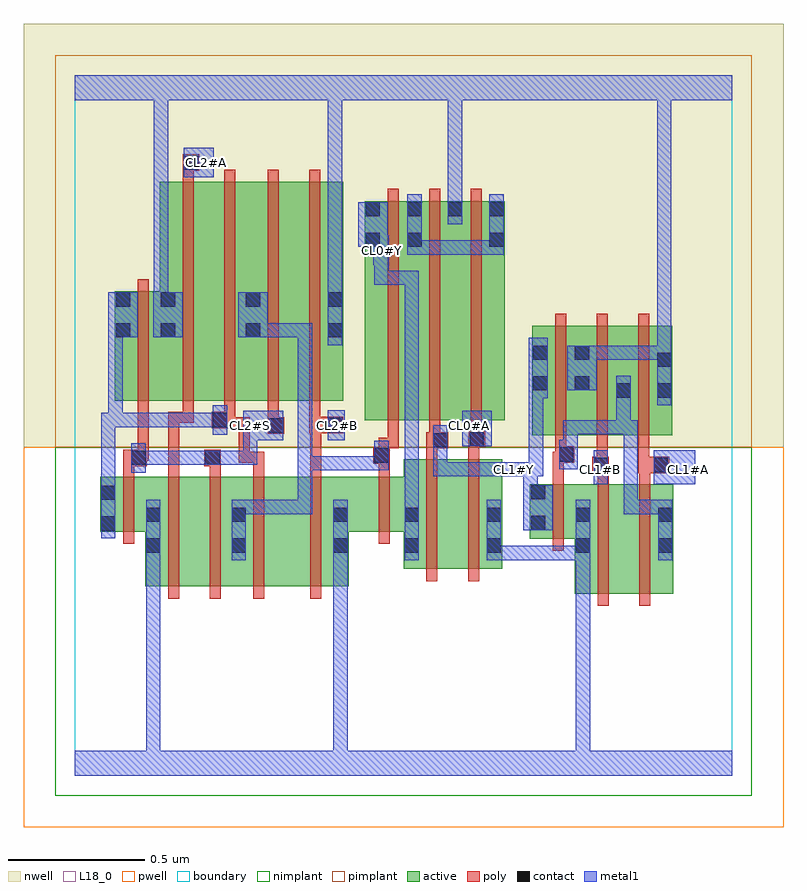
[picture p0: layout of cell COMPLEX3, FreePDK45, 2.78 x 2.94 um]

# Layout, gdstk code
import gdstk
lib = gdstk.Library(unit=1e-6, precision=1e-09)
def R(c, l, rs):  # rectangles x0, y0, x1, y1
    for r in rs: c.add(gdstk.rectangle(r[:2], r[2:], *l))
def A(c, l, x, y, w, h, nx, ny, dx, dy):  # array of equal rectangles
    R(c, l, [(x+i*dx, y+j*dy, x+i*dx+w, y+j*dy+h) for i in range(nx) for j in range(ny)])
active = (1, 0)
pwell = (2, 0)
nwell = (3, 0)
nimplant = (4, 0)
pimplant = (5, 0)
poly = (9, 0)
contact = (10, 0)
metal1 = (11, 0)
L18_0 = (18, 0)
boundary = (235, 0)

complex3 = lib.new_cell('COMPLEX3')
R(complex3, active, [(1.826,0.666,2.006,1.066), (2.006,0.666,2.186,1.066), (2.126,0.666,2.186,1.066), (0.256,0.692,0.436,1.092), (0.436,0.692,0.628,1.092), (0.568,0.692,0.804,1.092), (0.804,0.692,1,1.092), (0.568,0.756,0.628,0.984), (1.2,0.756,1.38,1.156), (1.38,0.756,1.56,1.156), (1.5,0.756,1.56,1.156), (0.256,0.812,0.316,0.984), (0.94,0.812,1,0.984), (1.2,0.812,1.26,0.984), (1.826,0.812,1.886,0.984), (1.662,0.866,1.886,1.066), (0.092,0.892,0.316,1.092), (0.092,0.892,0.152,1.092), (0.94,0.892,1.26,1.092), (1.662,0.894,1.722,1.066), (1.67,1.244,1.73,1.644), (1.67,1.244,1.882,1.644), (1.822,1.244,2.034,1.644), (1.974,1.244,2.182,1.644), (2.122,1.244,2.182,1.644), (1.058,1.3,1.118,2.1), (1.058,1.3,1.27,2.1), (1.21,1.3,1.27,2.1), (1.21,1.3,1.418,2.1), (1.358,1.3,1.418,2.1), (1.358,1.3,1.57,2.1), (1.51,1.3,1.57,2.1), (0.146,1.37,0.206,1.77), (0.146,1.37,0.37,1.77), (0.31,1.37,0.49,2.17), (0.31,1.37,0.37,2.108), (0.49,1.37,0.68,2.17), (0.62,1.37,0.8,2.17), (0.8,1.37,0.98,2.17), (0.92,1.37,0.98,2.044), (1.974,1.378,2.034,1.644), (0.62,1.388,0.68,2.044), (1.822,1.404,1.882,1.644)])
R(complex3, pwell, [(-0.188,-0.188,2.588,1.2)])
R(complex3, nwell, [(-0.188,1.2,2.588,2.748)])
R(complex3, nimplant, [(-0.072,-0.072,2.472,1.2)])
R(complex3, pimplant, [(-0.072,1.2,2.472,2.632)])
A(complex3, poly, 1.754, 1.2, 0.04, 0.488, 3, 1, 0.152, 0)
A(complex3, poly, 1.142, 1.256, 0.04, 0.888, 3, 1, 0.152, 0)
R(complex3, poly, [(1.91,0.622,1.95,1.11), (2.062,0.622,2.102,1.11), (0.34,0.648,0.38,1.136), (0.492,0.648,0.532,1.136), (0.652,0.648,0.692,1.136), (0.86,0.648,0.9,1.136), (1.284,0.712,1.324,1.2), (1.436,0.712,1.476,1.2), (1.746,0.822,1.786,1.11), (0.176,0.848,0.216,1.136), (1.11,0.848,1.15,1.136), (1.746,1.07,1.786,1.184), (1.91,1.07,1.95,1.146), (2.062,1.07,2.102,1.146), (0.176,1.096,0.216,1.172), (0.34,1.096,0.38,1.33), (0.492,1.096,0.532,1.172), (0.652,1.096,0.692,1.184), (0.86,1.096,0.9,1.292), (1.11,1.096,1.15,1.18), (1.89,1.106,1.95,1.166), (2.058,1.106,2.17,1.166), (2.062,1.106,2.102,1.146), (2.062,1.106,2.102,1.146), (1.906,1.126,1.946,1.24), (1.906,1.126,1.946,1.166), (1.906,1.126,1.946,1.166), (2.058,1.126,2.098,1.24), (0.176,1.132,0.262,1.192), (0.472,1.132,0.532,1.192), (1.09,1.14,1.15,1.2), (0.598,1.144,0.638,1.184), (0.598,1.144,0.692,1.184), (0.598,1.144,0.638,1.31), (0.652,1.144,0.692,1.184), (1.746,1.144,1.794,1.184), (1.754,1.144,1.794,1.184), (1.754,1.144,1.824,1.204), (0.222,1.152,0.262,1.192), (0.222,1.152,0.27,1.192), (0.23,1.152,0.27,1.366), (1.11,1.16,1.15,1.236), (1.284,1.16,1.324,1.236), (1.436,1.16,1.476,1.24), (1.754,1.164,1.794,1.24), (1.11,1.196,1.182,1.236), (1.142,1.196,1.182,1.296), (1.284,1.196,1.364,1.256), (1.436,1.2,1.478,1.24), (1.438,1.2,1.478,1.24), (1.438,1.2,1.498,1.26), (1.294,1.216,1.334,1.256), (1.294,1.216,1.334,1.256), (1.294,1.216,1.334,1.296), (1.446,1.22,1.486,1.296), (0.704,1.25,0.764,1.31), (0.856,1.252,0.98,1.312), (0.86,1.252,0.9,1.292), (0.86,1.252,0.9,1.292), (0.5,1.27,0.586,1.33), (0.546,1.27,0.638,1.31), (0.598,1.27,0.638,1.31), (0.704,1.27,0.744,1.366), (0.856,1.272,0.896,1.366), (0.34,1.29,0.38,1.33), (0.34,1.29,0.38,1.33), (0.34,1.29,0.434,1.33), (0.394,1.29,0.434,1.366), (0.546,1.29,0.586,1.366), (0.23,1.326,0.27,1.814), (0.394,1.326,0.434,2.214), (0.546,1.326,0.586,2.214), (0.704,1.326,0.744,2.214), (0.856,1.326,0.896,2.214), (0.394,2.174,0.434,2.25), (0.394,2.21,0.454,2.27)])
R(complex3, contact, [(0.26,0.816,0.312,0.868), (0.572,0.816,0.624,0.868), (0.944,0.816,0.996,0.868), (1.204,0.816,1.256,0.868), (1.504,0.816,1.556,0.868), (1.83,0.816,1.882,0.868), (2.13,0.816,2.182,0.868), (0.096,0.896,0.148,0.948), (1.666,0.898,1.718,0.95), (0.26,0.928,0.312,0.98), (0.572,0.928,0.624,0.98), (0.944,0.928,0.996,0.98), (1.204,0.928,1.256,0.98), (1.504,0.928,1.556,0.98), (1.83,0.928,1.882,0.98), (2.13,0.928,2.182,0.98), (0.096,1.008,0.148,1.06), (1.666,1.01,1.718,1.062), (1.894,1.11,1.946,1.162), (2.114,1.11,2.166,1.162), (0.206,1.136,0.258,1.188), (0.476,1.136,0.528,1.188), (1.094,1.144,1.146,1.196), (1.768,1.148,1.82,1.2), (1.308,1.2,1.36,1.252), (1.442,1.204,1.494,1.256), (0.708,1.254,0.76,1.306), (0.924,1.256,0.976,1.308), (0.504,1.274,0.556,1.326), (1.978,1.382,2.03,1.434), (2.126,1.382,2.178,1.434), (1.674,1.408,1.726,1.46), (1.826,1.408,1.878,1.46), (2.126,1.494,2.178,1.546), (1.674,1.52,1.726,1.572), (1.826,1.52,1.878,1.572), (0.15,1.602,0.202,1.654), (0.314,1.602,0.366,1.654), (0.624,1.602,0.676,1.654), (0.924,1.602,0.976,1.654), (0.15,1.714,0.202,1.766), (0.314,1.714,0.366,1.766), (0.624,1.714,0.676,1.766), (0.924,1.714,0.976,1.766), (1.062,1.932,1.114,1.984), (1.214,1.932,1.266,1.984), (1.514,1.932,1.566,1.984), (1.062,2.044,1.114,2.096), (1.214,2.044,1.266,2.096), (1.362,2.044,1.414,2.096), (1.514,2.044,1.566,2.096), (0.398,2.214,0.45,2.266)])
R(complex3, metal1, [(0,0,2.4,0.092), (0.26,0.04,0.312,0.092), (0.26,0.04,0.312,0.092), (0.26,0.04,0.312,0.092), (0.26,0.04,0.312,0.092), (0.26,0.04,0.312,0.092), (0.26,0.04,0.312,0.092), (0.26,0.04,0.312,0.092), (0.26,0.04,0.312,0.092), (0.26,0.04,0.312,0.092), (0.26,0.04,0.312,0.092), (0.26,0.04,0.312,0.092), (0.26,0.04,0.312,0.092), (0.26,0.04,0.312,0.84), (0.944,0.04,0.996,0.092), (0.944,0.04,0.996,0.092), (0.944,0.04,0.996,0.092), (0.944,0.04,0.996,0.092), (0.944,0.04,0.996,0.84), (1.83,0.04,1.882,0.092), (1.83,0.04,1.882,0.092), (1.83,0.04,1.882,0.092), (1.83,0.04,1.882,0.092), (1.83,0.04,1.882,0.092), (1.83,0.04,1.882,0.092), (1.83,0.04,1.882,0.092), (1.83,0.04,1.882,0.092), (1.83,0.04,1.882,0.092), (1.83,0.04,1.882,0.092), (1.83,0.04,1.882,0.092), (1.83,0.04,1.882,0.092), (1.83,0.04,1.882,0.84), (0.26,0.788,0.312,1.008), (0.572,0.788,0.624,1.008), (0.944,0.788,0.996,0.84), (0.944,0.788,0.996,0.84), (0.944,0.788,0.996,0.84), (0.944,0.788,0.996,0.84), (0.944,0.788,0.996,0.84), (0.944,0.788,0.996,0.84), (0.944,0.788,0.996,0.84), (0.944,0.788,0.996,0.84), (0.944,0.788,0.996,1.008), (1.204,0.788,1.256,1.008), (1.504,0.788,1.556,1.008), (1.504,0.788,1.726,0.84), (1.674,0.788,1.726,0.84), (1.674,0.788,1.726,0.84), (1.674,0.788,1.726,0.84), (1.674,0.788,1.882,0.84), (1.83,0.788,1.882,1.008), (2.13,0.788,2.182,1.008), (0.096,0.868,0.148,1.088), (1.638,0.898,1.746,1.062), (0.572,0.956,0.866,1.008), (0.814,0.956,0.866,1.008), (0.814,0.956,0.866,1.008), (0.814,0.956,0.866,1.008), (0.814,0.956,0.866,1.168), (1.204,0.956,1.256,1.846), (2.004,0.956,2.056,1.008), (2.004,0.956,2.182,1.008), (2.004,0.956,2.056,1.3), (2.13,0.956,2.182,1.008), (2.13,0.956,2.182,1.008), (2.13,0.956,2.182,1.008), (2.13,0.956,2.182,1.008), (1.638,1.01,1.69,1.146), (0.096,1.036,0.148,1.088), (0.096,1.036,0.148,1.088), (0.096,1.036,0.148,1.326), (1.894,1.066,1.946,1.19), (2.114,1.066,2.266,1.19), (1.308,1.094,1.378,1.146), (1.308,1.094,1.36,1.28), (1.326,1.094,1.378,1.146), (1.326,1.094,1.47,1.146), (1.418,1.094,1.47,1.146), (1.418,1.094,1.598,1.146), (1.546,1.094,1.598,1.146), (1.546,1.094,1.598,1.146), (1.546,1.094,1.71,1.146), (1.658,1.094,1.71,1.432), (0.206,1.108,0.258,1.216), (0.814,1.116,0.866,1.168), (0.814,1.116,0.976,1.168), (0.814,1.116,0.866,1.654), (0.924,1.116,0.976,1.168), (0.924,1.116,0.976,1.168), (0.924,1.116,0.976,1.168), (0.924,1.116,1.146,1.168), (1.094,1.116,1.146,1.168), (1.094,1.116,1.146,1.168), (1.094,1.116,1.146,1.224), (1.768,1.12,1.836,1.228), (0.206,1.136,0.368,1.188), (0.316,1.136,0.368,1.188), (0.316,1.136,0.368,1.188), (0.316,1.136,0.368,1.188), (0.316,1.136,0.5,1.188), (0.448,1.136,0.5,1.188), (0.448,1.136,0.5,1.188), (0.448,1.136,0.556,1.188), (0.504,1.136,0.666,1.188), (0.614,1.136,0.666,1.188), (0.614,1.136,0.666,1.278), (1.784,1.176,1.836,1.228), (1.784,1.176,1.836,1.3), (1.414,1.204,1.522,1.334), (0.614,1.226,0.666,1.278), (0.614,1.226,0.666,1.278), (0.614,1.226,0.76,1.334), (0.924,1.226,0.986,1.336), (0.504,1.246,0.556,1.354), (1.784,1.248,2.03,1.3), (1.978,1.248,2.03,1.3), (1.978,1.248,2.03,1.3), (1.978,1.248,2.03,1.406), (1.978,1.248,2.056,1.3), (0.096,1.274,0.174,1.326), (0.122,1.274,0.174,1.326), (0.122,1.274,0.174,1.326), (0.122,1.274,0.368,1.326), (0.122,1.274,0.174,1.654), (0.316,1.274,0.368,1.326), (0.316,1.274,0.368,1.326), (0.316,1.274,0.368,1.326), (0.316,1.274,0.504,1.326), (0.452,1.274,0.504,1.326), (0.452,1.274,0.556,1.326), (1.978,1.354,2.03,1.462), (2.126,1.354,2.178,1.574), (1.658,1.38,1.71,1.432), (1.658,1.38,1.71,1.432), (1.658,1.38,1.726,1.6), (1.798,1.408,1.906,1.572), (1.854,1.52,2.056,1.572), (2.004,1.52,2.056,1.572), (2.004,1.52,2.056,1.572), (2.004,1.52,2.056,1.572), (2.004,1.52,2.178,1.572), (2.126,1.52,2.178,1.572), (2.126,1.52,2.178,1.572), (2.126,1.522,2.178,1.574), (2.126,1.522,2.178,1.574), (2.126,1.522,2.178,1.574), (2.126,1.522,2.178,1.574), (2.126,1.522,2.178,1.574), (2.126,1.522,2.178,1.574), (2.126,1.522,2.178,1.574), (2.126,1.522,2.178,1.574), (2.126,1.522,2.178,1.574), (2.126,1.522,2.178,1.574), (2.126,1.522,2.178,1.574), (2.126,1.522,2.178,1.574), (2.126,1.522,2.178,1.574), (2.126,1.522,2.178,1.574), (2.126,1.522,2.178,1.574), (2.126,1.522,2.178,1.574), (2.126,1.522,2.178,2.52), (0.924,1.574,0.976,1.794), (0.122,1.602,0.23,1.766), (0.286,1.602,0.394,1.766), (0.596,1.602,0.704,1.766), (0.652,1.602,0.866,1.654), (0.814,1.602,0.866,1.654), (0.814,1.602,0.866,1.654), (0.814,1.602,0.866,1.654), (0.814,1.602,0.866,1.654), (0.814,1.602,0.866,1.654), (0.288,1.714,0.34,1.766), (0.288,1.714,0.34,1.766), (0.288,1.714,0.34,1.766), (0.288,1.714,0.34,1.766), (0.288,1.714,0.34,1.766), (0.288,1.714,0.34,1.766), (0.288,1.714,0.34,1.766), (0.288,1.714,0.34,1.766), (0.288,1.714,0.34,2.52), (0.924,1.742,0.976,1.794), (0.924,1.742,0.976,1.794), (0.924,1.742,0.976,1.794), (0.924,1.742,0.976,1.794), (0.924,1.742,0.976,1.794), (0.924,1.742,0.976,1.794), (0.924,1.742,0.976,1.794), (0.924,1.742,0.976,1.794), (0.924,1.742,0.976,2.52), (1.094,1.794,1.146,1.918), (1.094,1.794,1.256,1.846), (1.204,1.794,1.256,1.846), (1.204,1.794,1.256,1.846), (1.204,1.794,1.256,1.846), (1.09,1.866,1.146,1.974), (1.094,1.866,1.146,1.918), (1.214,1.904,1.266,1.956), (1.214,1.904,1.266,1.956), (1.214,1.904,1.266,2.124), (1.214,1.904,1.446,1.956), (1.394,1.904,1.446,1.956), (1.394,1.904,1.488,1.956), (1.436,1.904,1.488,1.956), (1.436,1.904,1.566,1.956), (1.514,1.904,1.566,2.124), (1.09,1.922,1.142,1.984), (1.034,1.932,1.142,2.096), (1.362,2.016,1.414,2.124), (1.362,2.072,1.414,2.124), (1.362,2.072,1.414,2.124), (1.362,2.072,1.414,2.124), (1.362,2.072,1.414,2.124), (1.362,2.072,1.414,2.124), (1.362,2.072,1.414,2.124), (1.362,2.072,1.414,2.124), (1.362,2.072,1.414,2.124), (1.362,2.072,1.414,2.52), (0.398,2.186,0.506,2.294), (0,2.468,2.4,2.56)])
A(complex3, L18_0, 1.574, 1.094, 0.052, 0.052, 3, 1, 0.32, 0)
R(complex3, L18_0, [(0,0,2.4,0.092), (0.26,0.04,0.312,0.092), (0.26,0.04,0.312,0.092), (0.26,0.04,0.312,0.092), (0.26,0.04,0.312,0.092), (0.26,0.04,0.312,0.092), (0.26,0.04,0.312,0.092), (0.26,0.04,0.312,0.092), (0.26,0.04,0.312,0.092), (0.26,0.04,0.312,0.092), (0.26,0.04,0.312,0.092), (0.26,0.04,0.312,0.092), (0.26,0.04,0.312,0.092), (0.26,0.04,0.312,0.84), (0.944,0.04,0.996,0.092), (0.944,0.04,0.996,0.092), (0.944,0.04,0.996,0.092), (0.944,0.04,0.996,0.092), (0.944,0.04,0.996,0.84), (1.83,0.04,1.882,0.092), (1.83,0.04,1.882,0.092), (1.83,0.04,1.882,0.092), (1.83,0.04,1.882,0.092), (1.83,0.04,1.882,0.092), (1.83,0.04,1.882,0.092), (1.83,0.04,1.882,0.092), (1.83,0.04,1.882,0.092), (1.83,0.04,1.882,0.092), (1.83,0.04,1.882,0.092), (1.83,0.04,1.882,0.092), (1.83,0.04,1.882,0.092), (1.83,0.04,1.882,0.84), (0.26,0.788,0.312,1.008), (0.944,0.788,0.996,0.84), (0.944,0.788,0.996,0.84), (0.944,0.788,0.996,0.84), (0.944,0.788,0.996,0.84), (0.944,0.788,0.996,0.84), (0.944,0.788,0.996,0.84), (0.944,0.788,0.996,0.84), (0.944,0.788,0.996,0.84), (0.944,0.788,0.996,1.008), (1.204,0.788,1.256,1.008), (1.504,0.788,1.556,1.008), (1.504,0.788,1.726,0.84), (1.674,0.788,1.726,0.84), (1.674,0.788,1.726,0.84), (1.674,0.788,1.726,0.84), (1.674,0.788,1.882,0.84), (1.83,0.788,1.882,1.008), (1.638,0.898,1.746,1.062), (1.204,0.956,1.256,1.846), (1.638,1.01,1.69,1.146), (1.894,1.066,1.946,1.19), (2.114,1.066,2.266,1.19), (1.308,1.094,1.36,1.28), (1.308,1.094,1.378,1.146), (1.326,1.094,1.378,1.146), (1.326,1.094,1.47,1.146), (1.418,1.094,1.47,1.146), (1.418,1.094,1.598,1.146), (1.546,1.094,1.598,1.146), (1.546,1.094,1.598,1.146), (1.546,1.094,1.71,1.146), (1.658,1.094,1.71,1.432), (0.206,1.108,0.258,1.216), (0.206,1.136,0.368,1.188), (0.316,1.136,0.368,1.188), (0.316,1.136,0.368,1.188), (0.316,1.136,0.368,1.188), (0.316,1.136,0.5,1.188), (0.448,1.136,0.5,1.188), (0.448,1.136,0.5,1.188), (0.448,1.136,0.556,1.188), (0.504,1.136,0.666,1.188), (0.614,1.136,0.666,1.188), (0.614,1.136,0.666,1.278), (1.414,1.204,1.522,1.334), (0.614,1.226,0.666,1.278), (0.614,1.226,0.666,1.278), (0.614,1.226,0.76,1.334), (0.924,1.226,0.986,1.336), (0.614,1.254,0.666,1.306), (0.934,1.254,0.986,1.306), (1.414,1.254,1.466,1.306), (2.126,1.354,2.178,1.574), (1.658,1.38,1.71,1.432), (1.658,1.38,1.71,1.432), (1.658,1.38,1.726,1.6), (1.798,1.408,1.906,1.572), (1.854,1.52,2.056,1.572), (2.004,1.52,2.056,1.572), (2.004,1.52,2.056,1.572), (2.004,1.52,2.056,1.572), (2.004,1.52,2.178,1.572), (2.126,1.52,2.178,1.572), (2.126,1.52,2.178,1.572), (2.126,1.522,2.178,1.574), (2.126,1.522,2.178,1.574), (2.126,1.522,2.178,1.574), (2.126,1.522,2.178,1.574), (2.126,1.522,2.178,1.574), (2.126,1.522,2.178,1.574), (2.126,1.522,2.178,1.574), (2.126,1.522,2.178,1.574), (2.126,1.522,2.178,1.574), (2.126,1.522,2.178,1.574), (2.126,1.522,2.178,1.574), (2.126,1.522,2.178,1.574), (2.126,1.522,2.178,1.574), (2.126,1.522,2.178,1.574), (2.126,1.522,2.178,1.574), (2.126,1.522,2.178,1.574), (2.126,1.522,2.178,2.52), (0.924,1.574,0.976,1.794), (0.286,1.602,0.394,1.766), (0.288,1.714,0.34,1.766), (0.288,1.714,0.34,1.766), (0.288,1.714,0.34,1.766), (0.288,1.714,0.34,1.766), (0.288,1.714,0.34,1.766), (0.288,1.714,0.34,1.766), (0.288,1.714,0.34,1.766), (0.288,1.714,0.34,1.766), (0.288,1.714,0.34,2.52), (0.924,1.742,0.976,1.794), (0.924,1.742,0.976,1.794), (0.924,1.742,0.976,1.794), (0.924,1.742,0.976,1.794), (0.924,1.742,0.976,1.794), (0.924,1.742,0.976,1.794), (0.924,1.742,0.976,1.794), (0.924,1.742,0.976,1.794), (0.924,1.742,0.976,2.52), (1.094,1.794,1.256,1.846), (1.094,1.794,1.146,1.918), (1.204,1.794,1.256,1.846), (1.204,1.794,1.256,1.846), (1.204,1.794,1.256,1.846), (1.09,1.866,1.146,1.974), (1.094,1.866,1.146,1.918), (1.094,1.894,1.146,1.946), (1.09,1.922,1.142,1.984), (1.034,1.932,1.142,2.096), (1.362,2.016,1.414,2.124), (1.362,2.072,1.414,2.124), (1.362,2.072,1.414,2.124), (1.362,2.072,1.414,2.124), (1.362,2.072,1.414,2.124), (1.362,2.072,1.414,2.124), (1.362,2.072,1.414,2.124), (1.362,2.072,1.414,2.124), (1.362,2.072,1.414,2.124), (1.362,2.072,1.414,2.52), (0.398,2.186,0.506,2.294), (0.454,2.214,0.506,2.266), (0,2.468,2.4,2.56)])
R(complex3, boundary, [(0,0,2.4,2.56)])
complex3.add(gdstk.Label('CL0#A', (1.44,1.28), layer=11, texttype=0))
complex3.add(gdstk.Label('CL0#Y', (1.12,1.92), layer=11, texttype=0))
complex3.add(gdstk.Label('CL1#A', (2.24,1.12), layer=11, texttype=0))
complex3.add(gdstk.Label('CL1#B', (1.92,1.12), layer=11, texttype=0))
complex3.add(gdstk.Label('CL1#Y', (1.6,1.12), layer=11, texttype=0))
complex3.add(gdstk.Label('CL2#A', (0.48,2.24), layer=11, texttype=0))
complex3.add(gdstk.Label('CL2#B', (0.96,1.28), layer=11, texttype=0))
complex3.add(gdstk.Label('CL2#S', (0.64,1.28), layer=11, texttype=0))

lib.write_gds('COMPLEX3.gds')
